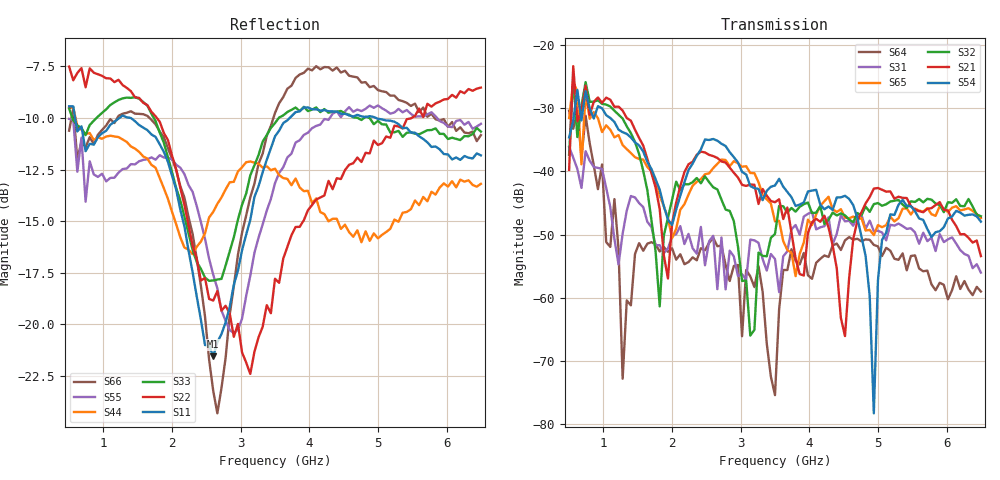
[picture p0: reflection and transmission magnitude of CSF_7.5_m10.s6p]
!Keysight Technologies,M9804A,MY58100912,A.14.10.03
!Date: Thursday, April 27, 2023 10:28:33
!Correction: S11(C  6-Port  )
!S12(C  6-Port  )
!S13(C  6-Port  )
!S14(C  6-Port  )
!S15(C  6-Port  )
!S16(C  6-Port  )
!S21(C  6-Port  )
!S22(C  6-Port  )
!S23(C  6-Port  )
!S24(C  6-Port  )
!S25(C  6-Port  )
!S26(C  6-Port  )
!S31(C  6-Port  )
!S32(C  6-Port  )
!S33(C  6-Port  )
!S34(C  6-Port  )
!S35(C  6-Port  )
!S36(C  6-Port  )
!S41(C  6-Port  )
!S42(C  6-Port  )
!S43(C  6-Port  )
!S44(C  6-Port  )
!S45(C  6-Port  )
!S46(C  6-Port  )
!S51(C  6-Port  )
!S52(C  6-Port  )
!S53(C  6-Port  )
!S54(C  6-Port  )
!S55(C  6-Port  )
!S56(C  6-Port  )
!S61(C  6-Port  )
!S62(C  6-Port  )
!S63(C  6-Port  )
!S64(C  6-Port  )
!S65(C  6-Port  )
!S66(C  6-Port  )
!S6P File: Measurement: :
# Hz S  RI  R 50
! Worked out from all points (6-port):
!   101 points, 500 MHz to 6.5 GHz, reference 50 ohm
!   strongest paths, dB at 500 MHz, 2 GHz, 3.5 GHz, 5 GHz, 6.5 GHz:
!     S54: -34.6, -48.5, -42.2, -57.2, -48.0
!     S21: -39.8, -48.3, -44.9, -42.6, -53.4
!     S32: -37.4, -44.5, -49.9, -45.0, -47.1
!     S65: -31.6, -50.6, -47.9, -48.5, -47.4
!     S31: -36.2, -50.3, -53.9, -49.4, -56.0
!     S64: -30.4, -52.2, -75.4, -51.9, -59.0
!   lowest |S11| = -21.6 dB at 2.6 GHz (marker M1), VSWR 1.18, Z = 42.5 + j2.08 ohm
!   |S11| at or under -10 dB: 587.8 MHz to 1.233 GHz (644.8 MHz wide, 70.8 % of centre); 1.4 GHz to 3.715 GHz (2.315 GHz wide, 90.5 % of centre); 4.973 GHz to end of sweep
